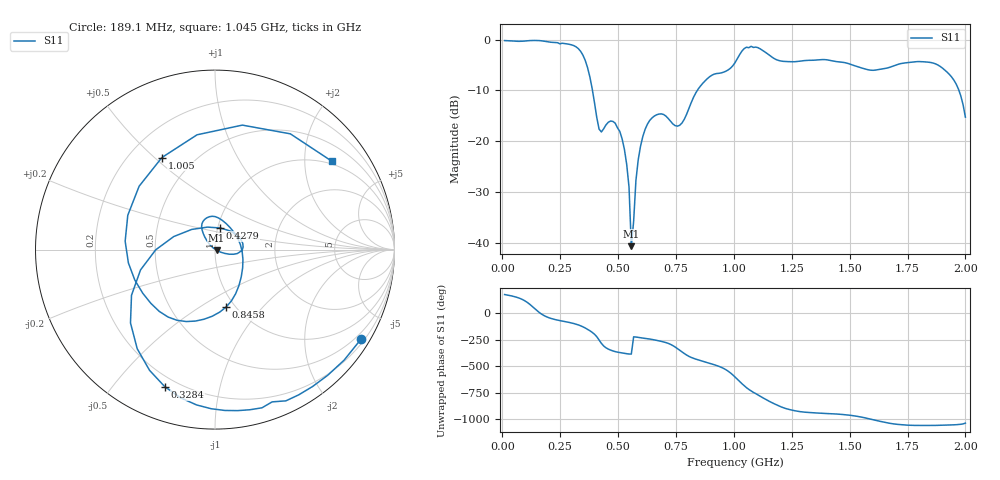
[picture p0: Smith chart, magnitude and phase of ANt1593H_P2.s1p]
!Created with skrf (http://scikit-rf.org).
# Hz S RI R 50.0
!freq ReS11 ImS11
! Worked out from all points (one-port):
!   201 points, 10 MHz to 2 GHz, reference 50 ohm
!   lowest |S11| = -40.5 dB at 557.2 MHz (marker M1), VSWR 1.02, Z = 50.9 - j0.395 ohm
!   |S11| at or under -10 dB: 389.5 MHz to 842.1 MHz (452.6 MHz wide, 73.5 % of centre); 1.972 GHz to end of sweep
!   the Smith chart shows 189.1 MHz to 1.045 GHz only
!   S11 on the Smith chart (normalised r, x): 189.1 MHz: 0.31, -3.52; 328.4 MHz: 0.15, -0.69; 427.9 MHz: 1.03, +0.25; 845.8 MHz: 0.91, -0.65; 1.005 GHz: 0.33, +0.53; 1.045 GHz: 0.91, +2.69
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1e7  -0.9736 0.0688
7.965e7  -0.6955 0.6617
1.1945e8  0.126 0.9681
1.493e8  0.8849 0.4169
1.891e8  0.8137 -0.4987
2.5875e8  0.2619 -0.8814
3.284e8  -0.2796 -0.7639
3.682e8  -0.4652 -0.2545
4.279e8  0.0291 0.1205
5.075e8  0.1235 -0.0223
5.473e8  0.0326 -0.0146
5.5725e8  0.00856 -0.00388
5.871e8  -0.0447 0.049
6.1695e8  -0.0722 0.1102
7.5625e8  0.1257 0.0647
8.458e8  0.0618 -0.3202
9.3535e8  -0.3575 -0.2993
1.005e9  -0.296 0.5129
1.0249e9  0.1523 0.6936
1.0448e9  0.6491 0.4937
1.07465e9  0.8412 -0.165
1.1244e9  0.2015 -0.7552
1.1841e9  -0.502 -0.3871
1.25375e9  -0.5881 0.1434
1.5025e9  -0.2782 0.501
1.75125e9  0.5336 0.2602
1.9204e9  0.4271 0.2198
2e9  0.1221 0.1229
